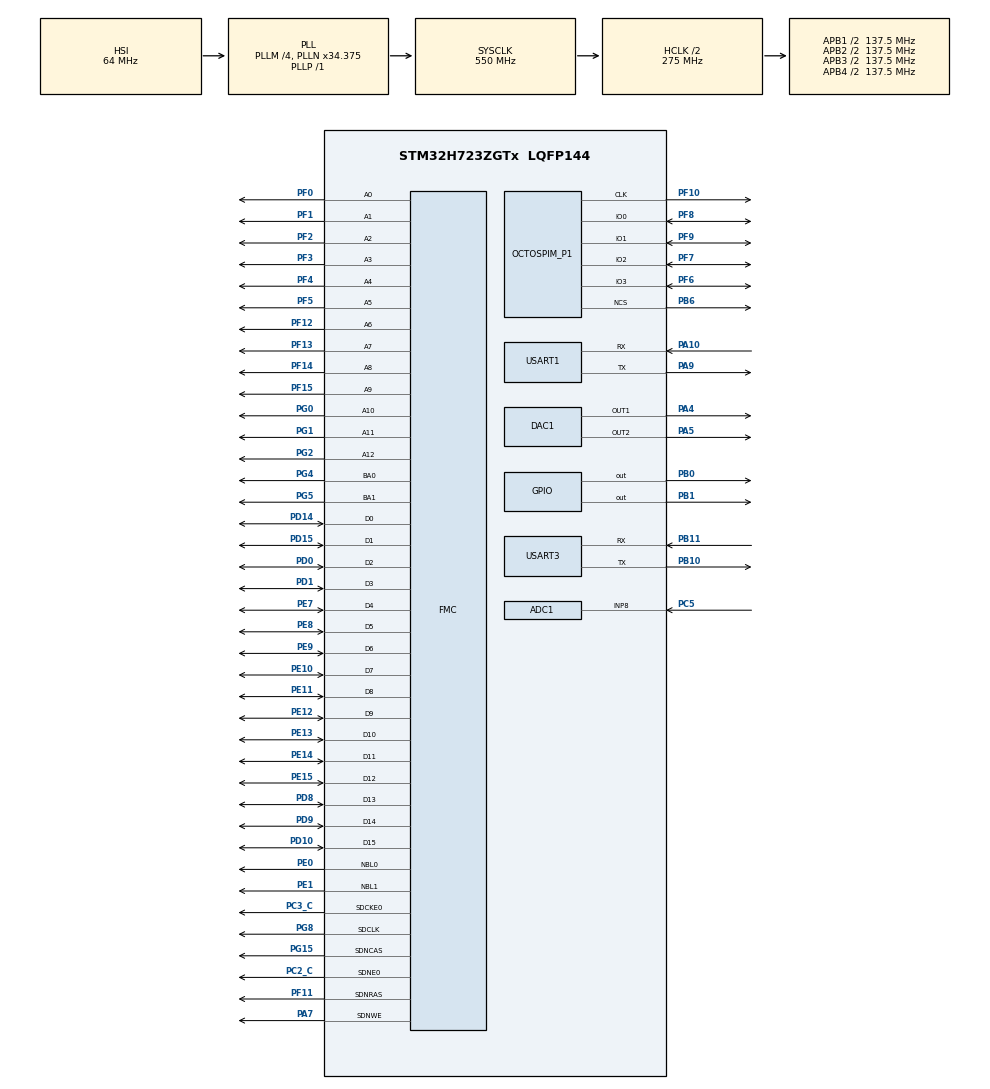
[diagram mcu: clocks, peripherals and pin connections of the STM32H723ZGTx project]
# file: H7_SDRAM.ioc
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ADC1.Channel-3\#ChannelRegularConversion=ADC_CHANNEL_8
ADC1.ClockPrescaler=ADC_CLOCK_ASYNC_DIV4
ADC1.ConversionDataManagement=ADC_CONVERSIONDATA_DMA_CIRCULAR
ADC1.ExternalTrigConv=ADC_EXTERNALTRIG_T4_TRGO
ADC1.NbrOfConversionFlag=1
ADC1.OffsetNumber-3\#ChannelRegularConversion=ADC_OFFSET_NONE
ADC1.OffsetSignedSaturation-3\#ChannelRegularConversion=DISABLE
ADC1.Rank-3\#ChannelRegularConversion=1
ADC1.Resolution=ADC_RESOLUTION_12B
ADC1.SamplingTime-3\#ChannelRegularConversion=ADC_SAMPLETIME_8CYCLES_5
ADC1.master=1
CORTEX_M7.AccessPermission_S-Cortex_Memory_Protection_Unit_Region1_Settings_S=MPU_REGION_FULL_ACCESS
CORTEX_M7.AccessPermission_S-Cortex_Memory_Protection_Unit_Region2_Settings_S=MPU_REGION_FULL_ACCESS
CORTEX_M7.AccessPermission_S-Cortex_Memory_Protection_Unit_Region3_Settings_S=MPU_REGION_FULL_ACCESS
CORTEX_M7.AccessPermission_S-Cortex_Memory_Protection_Unit_Region5_Settings_S=MPU_REGION_FULL_ACCESS
CORTEX_M7.AccessPermission_Spec=MPU_REGION_FULL_ACCESS
CORTEX_M7.BaseAddress_S-Cortex_Memory_Protection_Unit_Region1_Settings_S=0x60000000
CORTEX_M7.BaseAddress_S-Cortex_Memory_Protection_Unit_Region2_Settings_S=0x30000000
CORTEX_M7.BaseAddress_S-Cortex_Memory_Protection_Unit_Region3_Settings_S=0x38000000
CORTEX_M7.BaseAddress_S-Cortex_Memory_Protection_Unit_Region5_Settings_S=0xC0000000
CORTEX_M7.BaseAddress_Spec=0x24000000
CORTEX_M7.CPU_DCache=Enabled
CORTEX_M7.CPU_ICache=Enabled
CORTEX_M7.DisableExec_S-Cortex_Memory_Protection_Unit_Region1_Settings_S=MPU_INSTRUCTION_ACCESS_ENABLE
CORTEX_M7.DisableExec_S-Cortex_Memory_Protection_Unit_Region2_Settings_S=MPU_INSTRUCTION_ACCESS_ENABLE
CORTEX_M7.DisableExec_S-Cortex_Memory_Protection_Unit_Region3_Settings_S=MPU_INSTRUCTION_ACCESS_ENABLE
CORTEX_M7.DisableExec_Spec=MPU_INSTRUCTION_ACCESS_ENABLE
CORTEX_M7.Enable_S-Cortex_Memory_Protection_Unit_Region1_Settings_S=MPU_REGION_ENABLE
CORTEX_M7.Enable_S-Cortex_Memory_Protection_Unit_Region2_Settings_S=MPU_REGION_ENABLE
CORTEX_M7.Enable_S-Cortex_Memory_Protection_Unit_Region3_Settings_S=MPU_REGION_ENABLE
CORTEX_M7.Enable_S-Cortex_Memory_Protection_Unit_Region4_Settings_S=__NULL
CORTEX_M7.Enable_S-Cortex_Memory_Protection_Unit_Region5_Settings_S=MPU_REGION_ENABLE
CORTEX_M7.IsBufferable_S-Cortex_Memory_Protection_Unit_Region1_Settings_S=MPU_ACCESS_BUFFERABLE
CORTEX_M7.IsBufferable_S-Cortex_Memory_Protection_Unit_Region2_Settings_S=MPU_ACCESS_BUFFERABLE
CORTEX_M7.IsBufferable_Spec=MPU_ACCESS_BUFFERABLE
CORTEX_M7.IsCacheable_S-Cortex_Memory_Protection_Unit_Region1_Settings_S=MPU_ACCESS_NOT_CACHEABLE
CORTEX_M7.IsCacheable_S-Cortex_Memory_Protection_Unit_Region2_Settings_S=MPU_ACCESS_CACHEABLE
CORTEX_M7.IsCacheable_S-Cortex_Memory_Protection_Unit_Region3_Settings_S=MPU_ACCESS_CACHEABLE
CORTEX_M7.IsCacheable_S-Cortex_Memory_Protection_Unit_Region5_Settings_S=MPU_ACCESS_CACHEABLE
CORTEX_M7.IsCacheable_Spec=MPU_ACCESS_CACHEABLE
CORTEX_M7.IsShareable_Spec=MPU_ACCESS_NOT_SHAREABLE
CORTEX_M7.Size_S-Cortex_Memory_Protection_Unit_Region1_Settings_S=MPU_REGION_SIZE_64KB
CORTEX_M7.Size_S-Cortex_Memory_Protection_Unit_Region2_Settings_S=MPU_REGION_SIZE_64KB
CORTEX_M7.Size_S-Cortex_Memory_Protection_Unit_Region3_Settings_S=MPU_REGION_SIZE_64KB
CORTEX_M7.Size_S-Cortex_Memory_Protection_Unit_Region5_Settings_S=MPU_REGION_SIZE_32MB
CORTEX_M7.Size_Spec=MPU_REGION_SIZE_512KB
CORTEX_M7.SubRegionDisable_S-Cortex_Memory_Protection_Unit_Region1_Settings_S=0x00
CORTEX_M7.SubRegionDisable_Spec=0xE0
CORTEX_M7.TypeExtField_S-Cortex_Memory_Protection_Unit_Region1_Settings_S=MPU_TEX_LEVEL1
CORTEX_M7.TypeExtField_S-Cortex_Memory_Protection_Unit_Region5_Settings_S=MPU_TEX_LEVEL1
CORTEX_M7.TypeExtField_Spec=MPU_TEX_LEVEL1
CORTEX_M7.default_mode_Activation=1
DAC1.DAC_Channel-DAC_OUT1=DAC_CHANNEL_1
DAC1.DAC_Channel-DAC_OUT2=DAC_CHANNEL_2
DAC1.DAC_Trigger-DAC_OUT1=DAC_TRIGGER_T4_TRGO
DAC1.DAC_Trigger-DAC_OUT2=DAC_TRIGGER_T4_TRGO
Dma.ADC1.3.Direction=DMA_PERIPH_TO_MEMORY
Dma.ADC1.3.EventEnable=DISABLE
Dma.ADC1.3.FIFOMode=DMA_FIFOMODE_DISABLE
Dma.ADC1.3.Instance=DMA1_Stream0
Dma.ADC1.3.MemDataAlignment=DMA_MDATAALIGN_HALFWORD
Dma.ADC1.3.MemInc=DMA_MINC_ENABLE
Dma.ADC1.3.Mode=DMA_CIRCULAR
Dma.ADC1.3.PeriphDataAlignment=DMA_PDATAALIGN_HALFWORD
Dma.ADC1.3.PeriphInc=DMA_PINC_DISABLE
Dma.ADC1.3.Polarity=HAL_DMAMUX_REQ_GEN_RISING
Dma.ADC1.3.Priority=DMA_PRIORITY_HIGH
Dma.ADC1.3.RequestNumber=1
Dma.ADC1.3.SignalID=NONE
Dma.ADC1.3.SyncEnable=DISABLE
Dma.ADC1.3.SyncPolarity=HAL_DMAMUX_SYNC_NO_EVENT
Dma.ADC1.3.SyncRequestNumber=1
Dma.ADC1.3.SyncSignalID=NONE
Dma.DAC1_CH1.2.Direction=DMA_MEMORY_TO_PERIPH
Dma.DAC1_CH1.2.EventEnable=DISABLE
Dma.DAC1_CH1.2.FIFOMode=DMA_FIFOMODE_DISABLE
Dma.DAC1_CH1.2.Instance=DMA1_Stream3
Dma.DAC1_CH1.2.MemDataAlignment=DMA_MDATAALIGN_HALFWORD
Dma.DAC1_CH1.2.MemInc=DMA_MINC_ENABLE
Dma.DAC1_CH1.2.Mode=DMA_CIRCULAR
Dma.DAC1_CH1.2.PeriphDataAlignment=DMA_PDATAALIGN_HALFWORD
Dma.DAC1_CH1.2.PeriphInc=DMA_PINC_DISABLE
Dma.DAC1_CH1.2.Polarity=HAL_DMAMUX_REQ_GEN_RISING
Dma.DAC1_CH1.2.Priority=DMA_PRIORITY_HIGH
Dma.DAC1_CH1.2.RequestNumber=1
Dma.DAC1_CH1.2.SignalID=NONE
Dma.DAC1_CH1.2.SyncEnable=DISABLE
Dma.DAC1_CH1.2.SyncPolarity=HAL_DMAMUX_SYNC_NO_EVENT
Dma.DAC1_CH1.2.SyncRequestNumber=1
Dma.DAC1_CH1.2.SyncSignalID=NONE
Dma.DAC1_CH2.4.Direction=DMA_MEMORY_TO_PERIPH
Dma.DAC1_CH2.4.EventEnable=DISABLE
Dma.DAC1_CH2.4.FIFOMode=DMA_FIFOMODE_DISABLE
Dma.DAC1_CH2.4.Instance=DMA1_Stream5
Dma.DAC1_CH2.4.MemDataAlignment=DMA_MDATAALIGN_HALFWORD
Dma.DAC1_CH2.4.MemInc=DMA_MINC_ENABLE
Dma.DAC1_CH2.4.Mode=DMA_CIRCULAR
Dma.DAC1_CH2.4.PeriphDataAlignment=DMA_PDATAALIGN_HALFWORD
Dma.DAC1_CH2.4.PeriphInc=DMA_PINC_DISABLE
Dma.DAC1_CH2.4.Polarity=HAL_DMAMUX_REQ_GEN_RISING
Dma.DAC1_CH2.4.Priority=DMA_PRIORITY_HIGH
Dma.DAC1_CH2.4.RequestNumber=1
Dma.DAC1_CH2.4.SignalID=NONE
Dma.DAC1_CH2.4.SyncEnable=DISABLE
Dma.DAC1_CH2.4.SyncPolarity=HAL_DMAMUX_SYNC_NO_EVENT
Dma.DAC1_CH2.4.SyncRequestNumber=1
Dma.DAC1_CH2.4.SyncSignalID=NONE
Dma.Request0=USART1_RX
Dma.Request1=USART3_RX
Dma.Request2=DAC1_CH1
Dma.Request3=ADC1
Dma.Request4=DAC1_CH2
Dma.USART1_RX.0.Direction=DMA_PERIPH_TO_MEMORY
Dma.USART1_RX.0.EventEnable=DISABLE
Dma.USART1_RX.0.FIFOMode=DMA_FIFOMODE_DISABLE
Dma.USART1_RX.0.Instance=DMA1_Stream1
Dma.USART1_RX.0.MemDataAlignment=DMA_MDATAALIGN_BYTE
Dma.USART1_RX.0.MemInc=DMA_MINC_ENABLE
Dma.USART1_RX.0.Mode=DMA_NORMAL
Dma.USART1_RX.0.PeriphDataAlignment=DMA_PDATAALIGN_BYTE
Dma.USART1_RX.0.PeriphInc=DMA_PINC_DISABLE
Dma.USART1_RX.0.Polarity=HAL_DMAMUX_REQ_GEN_RISING
Dma.USART1_RX.0.Priority=DMA_PRIORITY_HIGH
Dma.USART1_RX.0.RequestNumber=1
Dma.USART1_RX.0.SignalID=NONE
Dma.USART1_RX.0.SyncEnable=DISABLE
Dma.USART1_RX.0.SyncPolarity=HAL_DMAMUX_SYNC_NO_EVENT
Dma.USART1_RX.0.SyncRequestNumber=1
Dma.USART1_RX.0.SyncSignalID=NONE
Dma.USART3_RX.1.Direction=DMA_PERIPH_TO_MEMORY
Dma.USART3_RX.1.EventEnable=DISABLE
Dma.USART3_RX.1.FIFOMode=DMA_FIFOMODE_DISABLE
Dma.USART3_RX.1.Instance=DMA1_Stream2
Dma.USART3_RX.1.MemDataAlignment=DMA_MDATAALIGN_BYTE
Dma.USART3_RX.1.MemInc=DMA_MINC_ENABLE
Dma.USART3_RX.1.Mode=DMA_NORMAL
Dma.USART3_RX.1.PeriphDataAlignment=DMA_PDATAALIGN_BYTE
Dma.USART3_RX.1.PeriphInc=DMA_PINC_DISABLE
Dma.USART3_RX.1.Polarity=HAL_DMAMUX_REQ_GEN_RISING
Dma.USART3_RX.1.Priority=DMA_PRIORITY_MEDIUM
Dma.USART3_RX.1.RequestNumber=1
Dma.USART3_RX.1.SignalID=NONE
Dma.USART3_RX.1.SyncEnable=DISABLE
Dma.USART3_RX.1.SyncPolarity=HAL_DMAMUX_SYNC_NO_EVENT
Dma.USART3_RX.1.SyncRequestNumber=1
Dma.USART3_RX.1.SyncSignalID=NONE
FMC.CASLatency1=FMC_SDRAM_CAS_LATENCY_3
FMC.ColumnBitsNumber1=FMC_SDRAM_COLUMN_BITS_NUM_9
FMC.ExitSelfRefreshDelay1=10
FMC.LoadToActiveDelay1=2
FMC.RCDDelay1=2
FMC.RPDelay1=3
FMC.RPDelay2=3
FMC.ReadBurst1=FMC_SDRAM_RBURST_ENABLE
FMC.ReadPipeDelay1=FMC_SDRAM_RPIPE_DELAY_1
FMC.ReadPipeDelay2=FMC_SDRAM_RPIPE_DELAY_1
FMC.RowCycleDelay1=9
FMC.RowCycleDelay2=9
FMC.SDClockPeriod1=FMC_SDRAM_CLOCK_PERIOD_2
FMC.SelfRefreshTime1=6
FMC.WriteRecoveryTime1=4
Mcu.Family=STM32H7
Mcu.Name=STM32H723ZGTx
Mcu.Package=LQFP144
NVIC.ADC_IRQn=true\:0\:0\:false\:false\:true\:true\:true\:true
NVIC.DMA1_Stream0_IRQn=true\:0\:0\:false\:false\:true\:false\:true\:true
NVIC.DMA1_Stream1_IRQn=true\:1\:0\:true\:false\:true\:false\:true\:true
NVIC.DMA1_Stream2_IRQn=true\:0\:0\:false\:false\:true\:false\:true\:true
NVIC.DMA1_Stream3_IRQn=true\:0\:0\:false\:false\:true\:false\:true\:true
NVIC.DMA1_Stream5_IRQn=true\:0\:0\:false\:false\:true\:false\:true\:true
NVIC.PriorityGroup=NVIC_PRIORITYGROUP_4
NVIC.TIM6_DAC_IRQn=true\:0\:0\:false\:false\:true\:true\:true\:true
NVIC.USART1_IRQn=true\:0\:0\:false\:false\:true\:true\:true\:true
NVIC.USART3_IRQn=true\:0\:0\:false\:false\:true\:true\:true\:true
OCTOSPI1.ChipSelectHighTime=4
OCTOSPI1.ClockPrescaler=3
OCTOSPI1.DeviceSize=23
OCTOSPI1.FifoThreshold=4
OCTOSPI1.SampleShifting=HAL_OSPI_SAMPLE_SHIFTING_HALFCYCLE
PA10.Mode=Asynchronous
PA10.Signal=USART1_RX
PA4.Signal=COMP_DAC11_group
PA5.Signal=COMP_DAC12_group
PA7.Signal=FMC_SDNWE
PA9.Mode=Asynchronous
PA9.Signal=USART1_TX
PB0.GPIO_Speed=GPIO_SPEED_FREQ_VERY_HIGH
PB0.PinState=GPIO_PIN_SET
PB0.Signal=GPIO_Output
PB1.GPIO_Speed=GPIO_SPEED_FREQ_VERY_HIGH
PB1.PinState=GPIO_PIN_SET
PB1.Signal=GPIO_Output
PB10.Mode=Asynchronous
PB10.Signal=USART3_TX
PB11.Mode=Asynchronous
PB11.Signal=USART3_RX
PB6.Mode=OCTOSPI1_Port1_NCS
PB6.Signal=OCTOSPIM_P1_NCS
PC14-OSC32_IN.Mode=LSE-External-Oscillator
PC14-OSC32_IN.Signal=RCC_OSC32_IN
PC15-OSC32_OUT.Mode=LSE-External-Oscillator
PC15-OSC32_OUT.Signal=RCC_OSC32_OUT
PC2_C.Mode=SdramChipSelect1_1
PC2_C.Signal=FMC_SDNE0
PC3_C.Mode=SdramChipSelect1_1
PC3_C.Signal=FMC_SDCKE0
PC5.Signal=ADCx_INP8
PD0.Signal=FMC_D2_DA2
PD1.Signal=FMC_D3_DA3
PD10.Signal=FMC_D15_DA15
PD14.Signal=FMC_D0_DA0
PD15.Signal=FMC_D1_DA1
PD8.Signal=FMC_D13_DA13
PD9.Signal=FMC_D14_DA14
PE0.Signal=FMC_NBL0
PE1.Signal=FMC_NBL1
PE10.Signal=FMC_D7_DA7
PE11.Signal=FMC_D8_DA8
PE12.Signal=FMC_D9_DA9
PE13.Signal=FMC_D10_DA10
PE14.Signal=FMC_D11_DA11
PE15.Signal=FMC_D12_DA12
PE7.Signal=FMC_D4_DA4
PE8.Signal=FMC_D5_DA5
PE9.Signal=FMC_D6_DA6
PF0.Signal=FMC_A0
PF1.Signal=FMC_A1
PF10.Mode=O1_P1_CLK
PF10.Signal=OCTOSPIM_P1_CLK
PF11.Signal=FMC_SDNRAS
PF12.Signal=FMC_A6
PF13.Signal=FMC_A7
PF14.Signal=FMC_A8
PF15.Signal=FMC_A9
PF2.Signal=FMC_A2
PF3.Signal=FMC_A3
PF4.Signal=FMC_A4
PF5.Signal=FMC_A5
PF6.Mode=OCTOSPI1_IOL_Port1L
PF6.Signal=OCTOSPIM_P1_IO3
PF7.Mode=OCTOSPI1_IOL_Port1L
PF7.Signal=OCTOSPIM_P1_IO2
PF8.Mode=OCTOSPI1_IOL_Port1L
PF8.Signal=OCTOSPIM_P1_IO0
PF9.Mode=OCTOSPI1_IOL_Port1L
PF9.Signal=OCTOSPIM_P1_IO1
PG0.Signal=FMC_A10
PG1.Signal=FMC_A11
PG15.Signal=FMC_SDNCAS
PG2.Signal=FMC_A12
PG4.Signal=FMC_A14_BA0
PG5.Signal=FMC_A15_BA1
PG8.Signal=FMC_SDCLK
PH0-OSC_IN.Mode=HSE-External-Oscillator
PH0-OSC_IN.Signal=RCC_OSC_IN
PH1-OSC_OUT.Mode=HSE-External-Oscillator
PH1-OSC_OUT.Signal=RCC_OSC_OUT
ProjectManager.HeapSize=0x4000
ProjectManager.StackSize=0x4000
ProjectManager.TargetToolchain=MDK-ARM V5.32
RCC.ADCCLockSelection=RCC_ADCCLKSOURCE_CLKP
RCC.ADCFreq_Value=64000000
RCC.APB1Freq_Value=137500000
RCC.APB2Freq_Value=137500000
RCC.APB3Freq_Value=137500000
RCC.APB4Freq_Value=137500000
RCC.CortexFreq_Value=550000000
RCC.D1PPRE=RCC_APB3_DIV2
RCC.D2PPRE1=RCC_APB1_DIV2
RCC.D2PPRE2=RCC_APB2_DIV2
RCC.D3PPRE=RCC_APB4_DIV2
RCC.DIVM1=4
RCC.DIVN1=34
RCC.DIVP1=1
RCC.HCLKFreq_Value=275000000
RCC.HPRE=RCC_HCLK_DIV2
RCC.PLL2FRACN=0
RCC.PLL3FRACN=0
RCC.PLLFRACN=3072
RCC.SYSCLKFreq_VALUE=550000000
RCC.SYSCLKSource=RCC_SYSCLKSOURCE_PLLCLK
RCC.USBFreq_Value=275000000
SH.ADCx_INP8.0=ADC1_INP8,IN8-Single-Ended
SH.COMP_DAC11_group.0=DAC1_OUT1,DAC_OUT1
SH.COMP_DAC12_group.0=DAC1_OUT2,DAC_OUT2
SH.FMC_A0.0=FMC_A0,13b-sda1
SH.FMC_A1.0=FMC_A1,13b-sda1
SH.FMC_A10.0=FMC_A10,13b-sda1
SH.FMC_A11.0=FMC_A11,13b-sda1
SH.FMC_A12.0=FMC_A12,13b-sda1
SH.FMC_A14_BA0.0=FMC_BA0,FourSdramBanks1
SH.FMC_A15_BA1.0=FMC_BA1,FourSdramBanks1
SH.FMC_A2.0=FMC_A2,13b-sda1
SH.FMC_A3.0=FMC_A3,13b-sda1
SH.FMC_A4.0=FMC_A4,13b-sda1
SH.FMC_A5.0=FMC_A5,13b-sda1
SH.FMC_A6.0=FMC_A6,13b-sda1
SH.FMC_A7.0=FMC_A7,13b-sda1
SH.FMC_A8.0=FMC_A8,13b-sda1
SH.FMC_A9.0=FMC_A9,13b-sda1
SH.FMC_D0_DA0.0=FMC_D0,sd-16b-d1
SH.FMC_D10_DA10.0=FMC_D10,sd-16b-d1
SH.FMC_D11_DA11.0=FMC_D11,sd-16b-d1
SH.FMC_D12_DA12.0=FMC_D12,sd-16b-d1
SH.FMC_D13_DA13.0=FMC_D13,sd-16b-d1
SH.FMC_D14_DA14.0=FMC_D14,sd-16b-d1
SH.FMC_D15_DA15.0=FMC_D15,sd-16b-d1
SH.FMC_D1_DA1.0=FMC_D1,sd-16b-d1
SH.FMC_D2_DA2.0=FMC_D2,sd-16b-d1
SH.FMC_D3_DA3.0=FMC_D3,sd-16b-d1
SH.FMC_D4_DA4.0=FMC_D4,sd-16b-d1
SH.FMC_D5_DA5.0=FMC_D5,sd-16b-d1
SH.FMC_D6_DA6.0=FMC_D6,sd-16b-d1
SH.FMC_D7_DA7.0=FMC_D7,sd-16b-d1
SH.FMC_D8_DA8.0=FMC_D8,sd-16b-d1
SH.FMC_D9_DA9.0=FMC_D9,sd-16b-d1
SH.FMC_NBL0.0=FMC_NBL0,Sd2ByteEnable1
SH.FMC_NBL1.0=FMC_NBL1,Sd2ByteEnable1
SH.FMC_SDCLK.0=FMC_SDCLK,13b-sda1
SH.FMC_SDNCAS.0=FMC_SDNCAS,13b-sda1
SH.FMC_SDNRAS.0=FMC_SDNRAS,13b-sda1
SH.FMC_SDNWE.0=FMC_SDNWE,13b-sda1
TIM3.AutoReloadPreload=TIM_AUTORELOAD_PRELOAD_ENABLE
TIM3.Period=110-1
TIM3.Prescaler=25-1
TIM3.TIM_MasterOutputTrigger=TIM_TRGO_UPDATE
TIM4.AutoReloadPreload=TIM_AUTORELOAD_PRELOAD_ENABLE
TIM4.Period=2-1
TIM4.Prescaler=13-1
TIM4.TIM_MasterOutputTrigger=TIM_TRGO_UPDATE
USART1.VirtualMode-Asynchronous=VM_ASYNC
USART3.VirtualMode-Asynchronous=VM_ASYNC
VP_MEMORYMAP_VS_MEMORYMAP.Mode=CurAppReg
VP_OCTOSPI1_VS_quad.Mode=quad_mode
VP_TIM3_VS_ClockSourceINT.Mode=Internal
VP_TIM4_VS_ClockSourceINT.Mode=Internal
board=custom

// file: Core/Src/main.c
/* USER CODE BEGIN Header */
/**
  ******************************************************************************
  * @file           : main.c
  * @brief          : Main program body
  ******************************************************************************
  * @attention
  *
  * Copyright (c) 2026 STMicroelectronics.
  * All rights reserved.
  *
  * This software is licensed under terms that can be found in the LICENSE file
  * in the root directory of this software component.
  * If no LICENSE file comes with this software, it is provided AS-IS.
  *
  ******************************************************************************
  */
/* USER CODE END Header */
#include "main.h"
#include "adc.h"
#include "dac.h"
#include "dma.h"
#include "octospi.h"
#include "tim.h"
#include "usart.h"
#include "gpio.h"
#include "fmc.h"

/* USER CODE BEGIN Includes */
#include "bspsysteam.h"

/* USER CODE END Includes */

void SystemClock_Config(void);
void PeriphCommonClock_Config(void);
static void MPU_Config(void);

/* USER CODE BEGIN 0 */

/* USER CODE BEGIN Includes */
#include "arm_math.h"
#include <string.h>
#include <stdint.h>
/* USER CODE END Includes */

/* USER CODE BEGIN 0 */

/* USER CODE BEGIN 0 */

/* ===================== Cache & DMA 宏 ===================== */
/* USER CODE BEGIN 0 */

/* ===================== Cache & DMA 宏 ===================== */
static void DCache_Invalidate_By_Addr(void *addr, uint32_t size);
static void DCache_Clean_By_Addr(void *addr, uint32_t size);

#define CACHE_LINE_SIZE         32U

#define FFT_LENGTH              4096U
#define ADC_DMA_LENGTH          (FFT_LENGTH * 2U)
#define DAC_DMA_LENGTH          (FFT_LENGTH * 2U)
#define DAC_CENTER              2048.0f

/* ===================== PLL 核心算法宏 ===================== */

/*
 * 真实采样率 —— 必须与 TIM4 触发频率完全一致。
 * TIM4 配置: PSC=274(÷275), ARR=1(周期2), 定时器时钟137.5MHz -> 250kHz。
 * (曾试 ARR=0 凑 500kHz, 但该配置下定时器/ADC 触发不可靠, 已弃用。)
 * 若改硬件定时器/时钟, 必须同步修改此处; 增益在 DSP_Process_Init 中按本宏自动推导。
 */
#define SAMPLE_RATE             500000.0f

/* 输出信号要求的精确固定相移 (rad) */
#define PHASE_SHIFT_A           (PI * 0.694f)     /* A 路目标相移 */
#define PHASE_SHIFT_B           (-PI / 4.0f)      /* B 路目标相移 */

#define PEAK_GUARD_BINS         6
#define DC_IGNORE_BINS          4U

/* ---- 频率获取/跟踪 ---- */
#define FREQ_ALPHA              0.05f      /* 小差时中心频率一阶平滑系数 */
#define AMP_ALPHA               0.05f      /* 幅值平滑系数 */
#define FREQ_GATE_HZ            730.0f     /* 视为同一音的频率门限 (≈6 bin) */
#define MAX_SLEW_HZ             50.0f      /* (保留) 大跳变斜坡 */
#define LOCK_HZ                 5.0f       /* (保留) 频率锁定判据 Hz */
#define MISS_MAX                10U        /* 连续丢帧 N 块后进入 Hold */
#define ACQ_GATE_HZ            200.0f      /* 重获取频率门限 (须 >> FFT 频率噪声) */
#define ACQ_CONFIRM             3U         /* 连续 N 块超门限才重获取, 防噪声误触发 */
#define LOCK_ERR                0.1f       /* 锁定判据:相位误差 (rad, ≈5.7°) */

/* ---- 信号存在性 (滞回双门限) ---- */
#define SIG_HI                  30.0f      /* 退出 Hold / 进入锁定的幅值门限 */
#define SIG_LO                  15.0f      /* 判定信号丢失的幅值门限 ( < SIG_HI ) */

/* ---- 二阶 PLL 增益 (由 fn, zeta 在 init 中推导; fs=250kHz, 块率 fb≈61Hz) ---- */
#define LOOP_FN                 3.0f       /* 环路自然频率 Hz (须 << fb/10≈6) */
#define LOOP_ZETA               0.707f     /* 阻尼比 */
#define PLL_KP_SLEW             0.5f       /* 频率斜坡过渡期使用的弱比例增益 (Hz/rad) */
#define F_INT_MAX               50.0f      /* 积分项 anti-windup 限幅 (Hz) */

/* ---- 流水线延迟补偿 ---- */
#define PIPE_LATENCY_SAMPLES    8192U      /* 乒乓 DMA 输出滞后样本数 (≈2N, 可标定) */

/* 增益限制防削顶 (0.0~1.0) */
#define OUT_GAIN                0.8f

/* ===================== Cache 操作函数 ===================== */
__attribute__((section(".ITCM_CODE")))
static void DCache_Invalidate_By_Addr(void *addr, uint32_t size)
{
    uint32_t start_addr = (uint32_t)addr;
    uint32_t end_addr = start_addr + size;
    start_addr &= ~(CACHE_LINE_SIZE - 1U);
    end_addr = (end_addr + CACHE_LINE_SIZE - 1U) & ~(CACHE_LINE_SIZE - 1U);
    SCB_InvalidateDCache_by_Addr((uint32_t *)start_addr, (int32_t)(end_addr - start_addr));
}

__attribute__((section(".ITCM_CODE")))
static void DCache_Clean_By_Addr(void *addr, uint32_t size)
{
    uint32_t start_addr = (uint32_t)addr;
    uint32_t end_addr = start_addr + size;
    start_addr &= ~(CACHE_LINE_SIZE - 1U);
    end_addr = (end_addr + CACHE_LINE_SIZE - 1U) & ~(CACHE_LINE_SIZE - 1U);
    SCB_CleanDCache_by_Addr((uint32_t *)start_addr, (int32_t)(end_addr - start_addr));
}

/* ===================== DMA Buffer (RAM_D1) ===================== */
__attribute__((section(".RAM_D1"), aligned(32)))
uint16_t adc_dma_buf[ADC_DMA_LENGTH];

__attribute__((section(".RAM_D1"), aligned(32)))
uint16_t dac_A_dma_buf[DAC_DMA_LENGTH];

__attribute__((section(".RAM_D1"), aligned(32)))
uint16_t dac_B_dma_buf[DAC_DMA_LENGTH];

/* ===================== DSP 计算 Buffer (DTCM) ===================== */
__attribute__((section(".DTCM_DATA"))) float32_t fft_buffer[FFT_LENGTH * 2U];
__attribute__((section(".DTCM_DATA"))) float32_t mag_buffer[FFT_LENGTH / 2U];
__attribute__((section(".DTCM_DATA"))) float32_t window_buf[FFT_LENGTH];

arm_cfft_instance_f32 fft_inst;
static float32_t window_coherent_gain;

/* ===================== 通道 PLL 状态 ===================== */
/*
 * 每个通道(DAC A / DAC B)一套独立的标准二阶 PLL 状态。
 * phase 跨块连续累积, 任何重锁/获取/Hold 都不复位 -> 输出相位绝对连续。
 */
typedef struct {
    float32_t f_hat;     /* NCO 跟踪频率 (Hz), 锁定时由环路积分器平滑驱动 */
    float32_t f_acq;     /* FFT 粗捕频率锚点 (Hz), 仅在(重)获取时更新 */
    float32_t f_int;     /* 环路积分项 (Hz) —— 长期频率修正 */
    float32_t f_nco;     /* 本块 NCO 输出频率 (Hz) = f_acq + f_int + KP*err */
    float32_t phase;     /* NCO 跟踪相位 (rad), 跨块连续, 永不复位 */
    float32_t amp;       /* 跟踪幅值 */
    float32_t shift;     /* 该通道目标相移 (rad) */
    float32_t last_err;  /* 上一次相位误差 (rad), 供调试 */
    uint8_t  acquired;   /* 是否已首次获取频率 */
    uint8_t  locked;     /* 是否锁定 */
    uint8_t  hold;       /* 是否处于 Hold (信号丢失保持) */
    uint8_t  miss_cnt;   /* 连续未匹配块数 */
    uint8_t  reacq_cnt;  /* 重获取确认计数 */
} pll_chan_t;

static pll_chan_t chA, chB;

/* 由 fn/zeta 推导的二阶 PLL 增益, 在 DSP_Process_Init 中计算 */
static float32_t pll_kp = 0.0f;
static float32_t pll_ki = 0.0f;

/* ===================== 调试及中断变量 ===================== */
volatile uint32_t adc_half_count = 0;
volatile uint32_t adc_full_count = 0;
volatile uint32_t adc_half_drop_count = 0;
volatile uint32_t adc_full_drop_count = 0;

volatile uint32_t dac_ch1_half_count = 0;
volatile uint32_t dac_ch1_full_count = 0;
volatile uint32_t dac_ch2_half_count = 0;
volatile uint32_t dac_ch2_full_count = 0;
volatile uint32_t dac_ch1_error_count = 0;
volatile uint32_t dac_ch2_error_count = 0;

volatile uint8_t adc_half_ready = 0;
volatile uint8_t adc_full_ready = 0;
volatile uint8_t dac_half_free  = 0;
volatile uint8_t dac_full_free  = 0;

/* 观察锁相状态 */
volatile float32_t debug_err_A = 0.0f;
volatile float32_t debug_err_B = 0.0f;
volatile float32_t debug_fhat_A = 0.0f;
volatile float32_t debug_fhat_B = 0.0f;
volatile float32_t debug_fnco_A = 0.0f;
volatile float32_t debug_fnco_B = 0.0f;

/* ===================== 算法工具函数 ===================== */

__attribute__((section(".ITCM_CODE")))
static float32_t estimate_freq_parabolic(uint32_t idx)
{
    float32_t ym1, y0, yp1, denom, delta, bin;

    if ((idx <= 1U) || (idx >= (FFT_LENGTH / 2U - 2U))) {
        return ((float32_t)idx * SAMPLE_RATE) / (float32_t)FFT_LENGTH;
    }

    ym1 = mag_buffer[idx - 1U];
    y0  = mag_buffer[idx];
    yp1 = mag_buffer[idx + 1U];

    denom = ym1 - 2.0f * y0 + yp1;
    if (fabsf(denom) < 1.0e-20f) {
        delta = 0.0f;
    } else {
        delta = 0.5f * (ym1 - yp1) / denom;
    }

    if (delta > 0.5f) delta = 0.5f;
    else if (delta < -0.5f) delta = -0.5f;

    bin = (float32_t)idx + delta;
    return bin * SAMPLE_RATE / (float32_t)FFT_LENGTH;
}

/* ===================== 系统初始化 ===================== */
void DSP_Process_Init(void)
{
    if (arm_cfft_init_f32(&fft_inst, FFT_LENGTH) != ARM_MATH_SUCCESS) {
        Error_Handler();
    }

    /* 预计算 Hann 窗 */
    window_coherent_gain = 0.0f;
    for (uint32_t n = 0; n < FFT_LENGTH; n++) {
        window_buf[n] = 0.5f - 0.5f * arm_cos_f32((2.0f * PI * (float32_t)n) / ((float32_t)FFT_LENGTH - 1.0f));
        window_coherent_gain += window_buf[n];
    }
    window_coherent_gain /= (float32_t)FFT_LENGTH;

    /* 由自然频率/阻尼推导二阶 PLL 增益 (标准 type-2 环):
     *   KP = zeta*wn/pi            [Hz/rad]
     *   KI = wn^2 * Tb / (2*pi)    [Hz/(rad*block)]   Tb = N/fs
     * 保证 fs 改变时增益自动一致 */
    {
        float32_t Tb = (float32_t)FFT_LENGTH / SAMPLE_RATE;
        float32_t wn = 2.0f * PI * LOOP_FN;
        pll_kp = LOOP_ZETA * wn / PI;
        pll_ki = wn * wn * Tb / (2.0f * PI);
    }

    /* 初始化两通道: 上电默认 Hold, 等待信号 */
    chA.f_hat = 0.0f; chA.f_acq = 0.0f; chA.f_int = 0.0f; chA.f_nco = 0.0f; chA.phase = 0.0f;
    chA.amp = 0.0f;  chA.shift = PHASE_SHIFT_A; chA.last_err = 0.0f;
    chA.acquired = 0; chA.locked = 0; chA.hold = 1; chA.miss_cnt = 0; chA.reacq_cnt = 0;

    chB.f_hat = 0.0f; chB.f_acq = 0.0f; chB.f_int = 0.0f; chB.f_nco = 0.0f; chB.phase = 0.0f;
    chB.amp = 0.0f;  chB.shift = PHASE_SHIFT_B; chB.last_err = 0.0f;
    chB.acquired = 0; chB.locked = 0; chB.hold = 1; chB.miss_cnt = 0; chB.reacq_cnt = 0;
}

static void Audio_DMA_Buffer_Init(void)
{
    for (uint32_t i = 0; i < DAC_DMA_LENGTH; i++) {
        dac_A_dma_buf[i] = (uint16_t)DAC_CENTER;
        dac_B_dma_buf[i] = (uint16_t)DAC_CENTER;
    }
    DCache_Invalidate_By_Addr(adc_dma_buf, ADC_DMA_LENGTH * sizeof(uint16_t));
    DCache_Clean_By_Addr(dac_A_dma_buf, DAC_DMA_LENGTH * sizeof(uint16_t));
    DCache_Clean_By_Addr(dac_B_dma_buf, DAC_DMA_LENGTH * sizeof(uint16_t));
}

/* ===================== 单通道正交(相干)PLL ===================== */
/*
 * 全新方法 —— 解决高频频飘:
 * 旧法每块用 FFT 重新估计频率并平滑进 f_hat, FFT 抛物线频率噪声随之进入 NCO,
 * 经延迟补偿放大为相位目标噪声 -> 输出频率游走 (高频 SNR 低, 噪声更大, 飘得更狠)。
 *
 * 新法: FFT 仅用于粗捕与(重)获取; 锁定后频率完全由二阶环积分器平滑驱动,
 * 相位误差用"相干 I/Q 相关"高 SNR 检测 (等效于在 NCO 自身频率上的加窗 DFT):
 *   I = Σ w[n]·x[n]·cos(phase_n) ∝ cos(phase-θ),  Q = Σ w[n]·x[n]·sin(phase_n) ∝ sin(phase-θ)
 *   err = atan2(-Q, I) = θ - phase = 输入相位 - NCO相位  (取负保证负反馈)
 * NCO 频率 f = f_acq + f_int + KP·err; 相位逐样本累加, 永不复位 -> 连续。
 * 输出 = cos(phase + 流水线延迟补偿 + 目标相移) (与 I/Q 的 cos 参考同型, 相移精确), 延迟项用平滑的 f_hat。
 * has_tone/amp_fft 来自 FFT (粗捕与信号检测); xzm 为去直流数据。
 */
__attribute__((section(".ITCM_CODE")))
static void pll_run_chan(pll_chan_t *c, uint8_t has_tone,
                         float32_t f_meas, float32_t amp_fft,
                         const float32_t *xzm, uint16_t *out, uint32_t off)
{
    /* 1. 信号存在性 (用 FFT 幅值做滞回, 与 I/Q 解耦, 便于先决定获取) */
    if (has_tone && amp_fft >= SIG_HI) {
        c->hold = 0;
    } else if (amp_fft < SIG_LO) {
        c->hold = 1; c->locked = 0;
    }
    if (!has_tone) { if (c->miss_cnt < 255U) c->miss_cnt++; }
    else           { c->miss_cnt = 0; }
    if (c->miss_cnt > MISS_MAX) { c->hold = 1; c->locked = 0; }

    /* 2. (重)获取: 仅当未获取, 或 FFT 频率偏离跟踪频率超门限且持续确认。
     *    锁定时 f_meas 的 FFT 噪声不会进入 f_hat (这是频飘消除的关键)。 */
    if (has_tone && !c->hold) {
        if (!c->acquired) {
            c->f_hat = f_meas; c->f_acq = f_meas; c->f_int = 0.0f; c->acquired = 1;
            c->reacq_cnt = 0;
        } else if (fabsf(f_meas - c->f_hat) > ACQ_GATE_HZ) {
            if (c->reacq_cnt < 255U) c->reacq_cnt++;
            if (c->reacq_cnt >= ACQ_CONFIRM) {
                c->f_hat = f_meas; c->f_acq = f_meas; c->f_int = 0.0f; c->reacq_cnt = 0;
            }
        } else {
            c->reacq_cnt = 0;
        }
    }

    /* 3. 相干 I/Q 相位检测 (在当前 NCO 频率/相位上, 递推旋转) */
    float32_t omega = 2.0f * PI * c->f_hat / SAMPLE_RATE;
    float32_t cw = arm_cos_f32(c->phase);
    float32_t sw = arm_sin_f32(c->phase);
    float32_t cs = arm_cos_f32(omega);
    float32_t ss = arm_sin_f32(omega);
    float32_t I_acc = 0.0f, Q_acc = 0.0f;
    for (uint32_t n = 0; n < FFT_LENGTH; n++) {
        float32_t xn = xzm[n] * window_buf[n];
        I_acc += xn * cw;
        Q_acc += xn * sw;
        float32_t nc = cw * cs - sw * ss;
        float32_t ns = sw * cs + cw * ss;
        cw = nc; sw = ns;
    }
    float32_t mag = sqrtf(I_acc * I_acc + Q_acc * Q_acc);
    float32_t amp_iq = 2.0f * mag / ((float32_t)FFT_LENGTH * window_coherent_gain);
    /* err = 输入相位 - NCO相位 = atan2(-Q, I) (I∝cos(phase-θ), Q∝sin(phase-θ),
     * 故 atan2(Q,I)=phase-θ; 取负得 θ-phase, 保证 err>0(NCO落后)时增频为负反馈) */
    float32_t err = atan2f(-Q_acc, I_acc);

    /* 4. 二阶环路滤波器 (比例/积分均作用于频率) */
    if (c->acquired && !c->hold) {
        c->f_int += pll_ki * err;
        if (c->f_int >  F_INT_MAX) c->f_int =  F_INT_MAX;
        if (c->f_int < -F_INT_MAX) c->f_int = -F_INT_MAX;
        c->f_nco = c->f_acq + c->f_int + pll_kp * err;
        c->amp   += AMP_ALPHA * (amp_iq - c->amp);
        c->locked  = (fabsf(err) < LOCK_ERR) ? 1U : 0U;
        c->last_err = err;
    } else {
        c->f_nco = c->f_hat;                 /* Hold: 冻结频率 */
        c->last_err = 0.0f;
    }

    /* 5. NCO 连续生成: 逐样本累加跟踪相位 -> 输出相位绝对连续。
     *    输出 = cos(跟踪相位 + 流水线延迟补偿 + 目标相移); 跟踪相位不含偏置, 不累积。 */
    {
        float32_t step  = 2.0f * PI * c->f_hat / SAMPLE_RATE;
        float32_t phoff = 2.0f * PI * c->f_hat * (float32_t)PIPE_LATENCY_SAMPLES / SAMPLE_RATE + c->shift;
        float32_t ph = c->phase;
        for (uint32_t n = 0; n < FFT_LENGTH; n++) {
            float32_t val = DAC_CENTER + OUT_GAIN * c->amp * arm_cos_f32(ph + phoff);
            out[off + n] = (uint16_t)__USAT((int32_t)val, 12);
            ph += step;
            if      (ph >= 2.0f * PI) ph -= 2.0f * PI;
            else if (ph <  0.0f)      ph += 2.0f * PI;
        }
        c->phase = ph;                       /* 下一块起始跟踪相位 */
    }

    /* 6. 本块输出频率作为下一块跟踪频率 (Hold 时保持冻结) */
    if (c->acquired && !c->hold) c->f_hat = c->f_nco;
}

/* ===================== 核心信号处理 ===================== */
__attribute__((section(".ITCM_CODE")))
void Process_DSP_Block(uint32_t offset)
{
    uint32_t block_bytes = FFT_LENGTH * sizeof(uint16_t);
    float32_t mean = 0.0f;
    float32_t max1_val, max2_val;
    uint32_t idx1, idx2;

    float32_t freq1, freq2, amp1, amp2;             /* 两个峰: 频率(抛物线)与幅值(FFT) */
    float32_t Tf[2], Ta[2];                          /* 规整后: T[0]=低频, T[1]=高频 */
    uint32_t ai, bi;                                  /* 通道 A/B 取的峰索引 */
    uint8_t  a_has, b_has;
    float32_t a_f, a_a, b_f, b_a;

    DCache_Invalidate_By_Addr(&adc_dma_buf[offset], block_bytes);

    /* 1. 去直流 */
    for (uint32_t i = 0; i < FFT_LENGTH; i++) {
        mean += (float32_t)adc_dma_buf[offset + i];
    }
    mean /= (float32_t)FFT_LENGTH;

    /* 2. 装载 FFT 缓冲并加窗 (同时保存一份未加窗但去直流的数据在实部，供DFT用) */
    for (uint32_t i = 0; i < FFT_LENGTH; i++) {
        float32_t x = (float32_t)adc_dma_buf[offset + i] - mean;
        fft_buffer[i * 2U] = x * window_buf[i];
        fft_buffer[i * 2U + 1U] = 0.0f;
    }

    /* 3. 执行 FFT 找峰值 */
    arm_cfft_f32(&fft_inst, fft_buffer, 0, 1);
    arm_cmplx_mag_f32(fft_buffer, mag_buffer, FFT_LENGTH / 2U);

    for (uint32_t i = 0; i < DC_IGNORE_BINS; i++) {
        mag_buffer[i] = 0.0f;
    }

    /* 4. 寻找两个主频 */
    arm_max_f32(mag_buffer, FFT_LENGTH / 2U, &max1_val, &idx1);
    freq1 = estimate_freq_parabolic(idx1);

    for (int32_t i = (int32_t)idx1 - PEAK_GUARD_BINS; i <= (int32_t)idx1 + PEAK_GUARD_BINS; i++) {
        if (i > 0 && i < (int32_t)FFT_LENGTH / 2) mag_buffer[i] = 0.0f;
    }

    arm_max_f32(mag_buffer, FFT_LENGTH / 2U, &max2_val, &idx2);
    freq2 = estimate_freq_parabolic(idx2);

    /* 5. 由 FFT 峰值估算两峰幅值 (用于信号检测/关联; 相位由 PLL 自身相干检测) */
    amp1 = 2.0f * max1_val / ((float32_t)FFT_LENGTH * window_coherent_gain);
    amp2 = 2.0f * max2_val / ((float32_t)FFT_LENGTH * window_coherent_gain);

    /* 6. 装载去直流数据 (供相干 I/Q 用), 规整 T[0]=低频, T[1]=高频 */
    for (uint32_t i = 0; i < FFT_LENGTH; i++) {
        fft_buffer[i] = (float32_t)adc_dma_buf[offset + i] - mean;
    }
    Tf[0] = freq1; Ta[0] = amp1;
    Tf[1] = freq2; Ta[1] = amp2;
    if (Tf[0] > Tf[1]) {
        float32_t t;
        t = Tf[0]; Tf[0] = Tf[1]; Tf[1] = t;
        t = Ta[0]; Ta[0] = Ta[1]; Ta[1] = t;
    }

    /* 7. 峰-通道关联 (最近频率配对防交换; 首次获取低频->A, 高频->B) */
    if (!chA.acquired && !chB.acquired) {
        ai = 0; bi = 1;
    } else {
        float32_t d01 = fabsf(Tf[0] - chA.f_hat) + fabsf(Tf[1] - chB.f_hat);
        float32_t d10 = fabsf(Tf[1] - chA.f_hat) + fabsf(Tf[0] - chB.f_hat);
        if (d01 <= d10) { ai = 0; bi = 1; } else { ai = 1; bi = 0; }
    }
    /* 通道已获取且候选峰远离 f_hat 时, 若信号弱则视为该音缺失(交由 Hold 处理) */
    a_has = 1; a_f = Tf[ai]; a_a = Ta[ai];
    b_has = 1; b_f = Tf[bi]; b_a = Ta[bi];
    if (chA.acquired && fabsf(a_f - chA.f_hat) > FREQ_GATE_HZ && a_a < SIG_HI) a_has = 0;
    if (chB.acquired && fabsf(b_f - chB.f_hat) > FREQ_GATE_HZ && b_a < SIG_HI) b_has = 0;

    /* 8. 逐通道正交 PLL: 频率由环路平滑跟踪, 不受每块 FFT 噪声扰动 */
    pll_run_chan(&chA, a_has, a_f, a_a, fft_buffer, dac_A_dma_buf, offset);
    pll_run_chan(&chB, b_has, b_f, b_a, fft_buffer, dac_B_dma_buf, offset);

    /* 9. 调试观测 */
    debug_err_A  = chA.last_err;  debug_err_B  = chB.last_err;
    debug_fhat_A = chA.f_hat;     debug_fhat_B = chB.f_hat;
    debug_fnco_A = chA.f_nco;     debug_fnco_B = chB.f_nco;

    /* DMA 前 Clean Cache */
    DCache_Clean_By_Addr(&dac_A_dma_buf[offset], block_bytes);
    DCache_Clean_By_Addr(&dac_B_dma_buf[offset], block_bytes);
}

/* ===================== 中断乒乓调度与DMA启动 ===================== */
__attribute__((section(".ITCM_CODE")))
void adc_proc(void)
{
    uint8_t do_half = 0U;
    uint8_t do_full = 0U;

    __disable_irq();
    if ((adc_half_ready != 0U) && (dac_half_free != 0U)) {
        adc_half_ready = 0U; dac_half_free = 0U; do_half = 1U;
    }
    if ((adc_full_ready != 0U) && (dac_full_free != 0U)) {
        adc_full_ready = 0U; dac_full_free = 0U; do_full = 1U;
    }
    __enable_irq();

    if (do_half != 0U) {
        Process_DSP_Block(0U);
        adc_half_count++;
    }
    if (do_full != 0U) {
        Process_DSP_Block(FFT_LENGTH);
        adc_full_count++;
    }
}

void HAL_ADC_ConvHalfCpltCallback(ADC_HandleTypeDef *hadc) {
    if (hadc->Instance == ADC1) {
        if (adc_half_ready != 0U) adc_half_drop_count++;
        adc_half_ready = 1U;
    }
}

void HAL_ADC_ConvCpltCallback(ADC_HandleTypeDef *hadc) {
    if (hadc->Instance == ADC1) {
        if (adc_full_ready != 0U) adc_full_drop_count++;
        adc_full_ready = 1U;
    }
}

void HAL_DAC_ConvHalfCpltCallbackCh1(DAC_HandleTypeDef *hdac) {
    if (hdac->Instance == DAC1) {
        dac_ch1_half_count++;
        dac_half_free = 1U;
    }
}

void HAL_DAC_ConvCpltCallbackCh1(DAC_HandleTypeDef *hdac) {
    if (hdac->Instance == DAC1) {
        dac_ch1_full_count++;
        dac_full_free = 1U;
    }
}

void HAL_DAC_ConvHalfCpltCallbackCh2(DAC_HandleTypeDef *hdac) {
    if (hdac->Instance == DAC1) dac_ch2_half_count++;
}

void HAL_DAC_ConvCpltCallbackCh2(DAC_HandleTypeDef *hdac) {
    if (hdac->Instance == DAC1) dac_ch2_full_count++;
}

void HAL_DAC_ErrorCallbackCh1(DAC_HandleTypeDef *hdac) {
    if (hdac->Instance == DAC1) dac_ch1_error_count++;
}

void HAL_DAC_ErrorCallbackCh2(DAC_HandleTypeDef *hdac) {
    if (hdac->Instance == DAC1) dac_ch2_error_count++;
}

/* 外部句柄声明 (CubeMX 生成在 main.c 中) */
extern ADC_HandleTypeDef hadc1;
extern DAC_HandleTypeDef hdac1;
extern TIM_HandleTypeDef htim4;

static void Audio_DMA_Start(void)
{
    Audio_DMA_Buffer_Init();

    if (HAL_ADC_Start_DMA(&hadc1, (uint32_t *)&adc_dma_buf[0], ADC_DMA_LENGTH) != HAL_OK) Error_Handler();
    if (HAL_DAC_Start_DMA(&hdac1, DAC_CHANNEL_1, (uint32_t *)&dac_A_dma_buf[0], DAC_DMA_LENGTH, DAC_ALIGN_12B_R) != HAL_OK) Error_Handler();
    if (HAL_DAC_Start_DMA(&hdac1, DAC_CHANNEL_2, (uint32_t *)&dac_B_dma_buf[0], DAC_DMA_LENGTH, DAC_ALIGN_12B_R) != HAL_OK) Error_Handler();
    if (HAL_TIM_Base_Start(&htim4) != HAL_OK) Error_Handler();
}

/* USER CODE END 0 */

/* USER CODE END 0 */

/* USER CODE END 0 */

int main(void)
{

  /* MPU Configuration--------------------------------------------------------*/
  MPU_Config();

  /* Enable the CPU Cache */

  /* Enable I-Cache---------------------------------------------------------*/
  SCB_EnableICache();

  /* Enable D-Cache---------------------------------------------------------*/
  SCB_EnableDCache();

  /* MCU Configuration--------------------------------------------------------*/

  /* Reset of all peripherals, Initializes the Flash interface and the Systick. */
  HAL_Init();

  /* Configure the system clock */
  SystemClock_Config();

  /* Configure the peripherals common clocks */
  PeriphCommonClock_Config();

  /* Initialize all configured peripherals */
  MX_GPIO_Init();
  MX_DMA_Init();
  MX_FMC_Init();
  MX_OCTOSPI1_Init();
  MX_USART1_UART_Init();
  MX_USART3_UART_Init();
  MX_TIM3_Init();
  MX_DAC1_Init();
  MX_TIM4_Init();
  MX_ADC1_Init();
  /* USER CODE BEGIN 2 */
	SRAM_Clock_Enable();    // 如果这个函数确实还需要，放在时钟后

  /* USER CODE END 2 */

  /* Infinite loop */
  /* USER CODE BEGIN WHILE */
	SRAM_Clock_Enable();

  scheduler_Init();

 DSP_Process_Init();

  /* 3. 启动 ADC 和 DAC 的 DMA 传输 */
  /* 这个函数会一次性启动 ADC、两个 DAC 通道和定时器 */
  Audio_DMA_Start();
  while (1)
  {
    /* USER CODE END WHILE */

    /* USER CODE BEGIN 3 */

	adc_proc();

	/* 周期调试打印 (1s 一次, 非实时关键路径; 115200 baud ~5ms)
	 * 用整数缩放避免依赖浮点 printf: f*=Hz, e*=毫弧度 */
//	{
//		static uint32_t dbg_last = 0xFFFFFFFFU;
//		uint32_t now = HAL_GetTick();
//		if (dbg_last == 0xFFFFFFFFU) dbg_last = now;
//		if ((now - dbg_last) >= 1000U) {
//			dbg_last = now;
//			UART1_Printf("fA=%d fB=%d nA=%d nB=%d eA=%d eB=%d %c%c\r\n",
//			             (int)debug_fhat_A, (int)debug_fhat_B,
//			             (int)debug_fnco_A, (int)debug_fnco_B,
//			             (int)(debug_err_A * 1000.0f), (int)(debug_err_B * 1000.0f),
//			             chA.locked ? 'L' : (chA.hold ? 'H' : '-'),
//			             chB.locked ? 'L' : (chB.hold ? 'H' : '-'));
//		}
//	}
  }
  /* USER CODE END 3 */
}

void SystemClock_Config(void)
{
  RCC_OscInitTypeDef RCC_OscInitStruct = {0};
  RCC_ClkInitTypeDef RCC_ClkInitStruct = {0};

  /** Supply configuration update enable
  */
  HAL_PWREx_ConfigSupply(PWR_LDO_SUPPLY);

  /** Configure the main internal regulator output voltage
  */
  __HAL_PWR_VOLTAGESCALING_CONFIG(PWR_REGULATOR_VOLTAGE_SCALE0);

  while(!__HAL_PWR_GET_FLAG(PWR_FLAG_VOSRDY)) {}

  /** Initializes the RCC Oscillators according to the specified parameters
  * in the RCC_OscInitTypeDef structure.
  */
  RCC_OscInitStruct.OscillatorType = RCC_OSCILLATORTYPE_HSI;
  RCC_OscInitStruct.HSIState = RCC_HSI_DIV1;
  RCC_OscInitStruct.HSICalibrationValue = 64;
  RCC_OscInitStruct.PLL.PLLState = RCC_PLL_ON;
  RCC_OscInitStruct.PLL.PLLSource = RCC_PLLSOURCE_HSI;
  RCC_OscInitStruct.PLL.PLLM = 4;
  RCC_OscInitStruct.PLL.PLLN = 34;
  RCC_OscInitStruct.PLL.PLLP = 1;
  RCC_OscInitStruct.PLL.PLLQ = 2;
  RCC_OscInitStruct.PLL.PLLR = 2;
  RCC_OscInitStruct.PLL.PLLRGE = RCC_PLL1VCIRANGE_3;
  RCC_OscInitStruct.PLL.PLLVCOSEL = RCC_PLL1VCOWIDE;
  RCC_OscInitStruct.PLL.PLLFRACN = 3072;
  if (HAL_RCC_OscConfig(&RCC_OscInitStruct) != HAL_OK)
  {
    Error_Handler();
  }

  /** Initializes the CPU, AHB and APB buses clocks
  */
  RCC_ClkInitStruct.ClockType = RCC_CLOCKTYPE_HCLK|RCC_CLOCKTYPE_SYSCLK
                              |RCC_CLOCKTYPE_PCLK1|RCC_CLOCKTYPE_PCLK2
                              |RCC_CLOCKTYPE_D3PCLK1|RCC_CLOCKTYPE_D1PCLK1;
  RCC_ClkInitStruct.SYSCLKSource = RCC_SYSCLKSOURCE_PLLCLK;
  RCC_ClkInitStruct.SYSCLKDivider = RCC_SYSCLK_DIV1;
  RCC_ClkInitStruct.AHBCLKDivider = RCC_HCLK_DIV2;
  RCC_ClkInitStruct.APB3CLKDivider = RCC_APB3_DIV2;
  RCC_ClkInitStruct.APB1CLKDivider = RCC_APB1_DIV2;
  RCC_ClkInitStruct.APB2CLKDivider = RCC_APB2_DIV2;
  RCC_ClkInitStruct.APB4CLKDivider = RCC_APB4_DIV2;

  if (HAL_RCC_ClockConfig(&RCC_ClkInitStruct, FLASH_LATENCY_3) != HAL_OK)
  {
    Error_Handler();
  }
}

void PeriphCommonClock_Config(void)
{
  RCC_PeriphCLKInitTypeDef PeriphClkInitStruct = {0};

  /** Initializes the peripherals clock
  */
  PeriphClkInitStruct.PeriphClockSelection = RCC_PERIPHCLK_CKPER;
  PeriphClkInitStruct.CkperClockSelection = RCC_CLKPSOURCE_HSI;
  if (HAL_RCCEx_PeriphCLKConfig(&PeriphClkInitStruct) != HAL_OK)
  {
    Error_Handler();
  }
}

 /* MPU Configuration */

void MPU_Config(void)
{
  MPU_Region_InitTypeDef MPU_InitStruct = {0};

  /* Disables the MPU */
  HAL_MPU_Disable();

  /** Initializes and configures the Region and the memory to be protected
  */
  MPU_InitStruct.Enable = MPU_REGION_ENABLE;
  MPU_InitStruct.Number = MPU_REGION_NUMBER0;
  MPU_InitStruct.BaseAddress = 0x24000000;
  MPU_InitStruct.Size = MPU_REGION_SIZE_512KB;
  MPU_InitStruct.SubRegionDisable = 0xE0;
  MPU_InitStruct.TypeExtField = MPU_TEX_LEVEL1;
  MPU_InitStruct.AccessPermission = MPU_REGION_FULL_ACCESS;
  MPU_InitStruct.DisableExec = MPU_INSTRUCTION_ACCESS_ENABLE;
  MPU_InitStruct.IsShareable = MPU_ACCESS_NOT_SHAREABLE;
  MPU_InitStruct.IsCacheable = MPU_ACCESS_CACHEABLE;
  MPU_InitStruct.IsBufferable = MPU_ACCESS_BUFFERABLE;

  HAL_MPU_ConfigRegion(&MPU_InitStruct);

  /** Initializes and configures the Region and the memory to be protected
  */
  MPU_InitStruct.Number = MPU_REGION_NUMBER1;
  MPU_InitStruct.BaseAddress = 0x60000000;
  MPU_InitStruct.Size = MPU_REGION_SIZE_64KB;
  MPU_InitStruct.SubRegionDisable = 0x00;
  MPU_InitStruct.IsCacheable = MPU_ACCESS_NOT_CACHEABLE;

  HAL_MPU_ConfigRegion(&MPU_InitStruct);

  /** Initializes and configures the Region and the memory to be protected
  */
  MPU_InitStruct.Number = MPU_REGION_NUMBER2;
  MPU_InitStruct.BaseAddress = 0x30000000;
  MPU_InitStruct.SubRegionDisable = 0x0;
  MPU_InitStruct.TypeExtField = MPU_TEX_LEVEL0;
  MPU_InitStruct.IsCacheable = MPU_ACCESS_CACHEABLE;

  HAL_MPU_ConfigRegion(&MPU_InitStruct);

  /** Initializes and configures the Region and the memory to be protected
  */
  MPU_InitStruct.Number = MPU_REGION_NUMBER3;
  MPU_InitStruct.BaseAddress = 0x38000000;
  MPU_InitStruct.IsBufferable = MPU_ACCESS_NOT_BUFFERABLE;

  HAL_MPU_ConfigRegion(&MPU_InitStruct);

  /** Initializes and configures the Region and the memory to be protected
  */
  MPU_InitStruct.Number = MPU_REGION_NUMBER5;
  MPU_InitStruct.BaseAddress = 0xC0000000;
  MPU_InitStruct.Size = MPU_REGION_SIZE_32MB;
  MPU_InitStruct.TypeExtField = MPU_TEX_LEVEL1;

  HAL_MPU_ConfigRegion(&MPU_InitStruct);
  /* Enables the MPU */
  HAL_MPU_Enable(MPU_PRIVILEGED_DEFAULT);

}

void Error_Handler(void)
{
  /* USER CODE BEGIN Error_Handler_Debug */
  /* User can add his own implementation to report the HAL error return state */
//  __disable_irq();
  while (1)
  {
		HAL_GPIO_TogglePin(GPIOB, GPIO_PIN_0);
    HAL_Delay(100);
  }
  /* USER CODE END Error_Handler_Debug */
}
